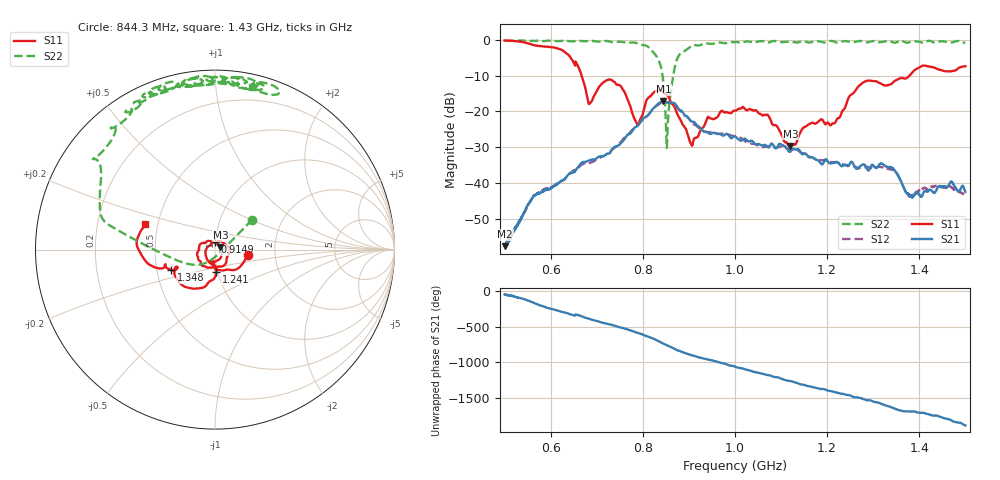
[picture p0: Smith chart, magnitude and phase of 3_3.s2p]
!Agilent Technologies,E8364B,US42250235,A.06.04.32
!Agilent E8364B: A.06.04.32
!Date: Thursday, October 01, 2020 11:07:33
!Correction: S11(Full 2 Port(1,2)) S21(Full 2 Port(1,2)) S12(Full 2 Port(1,2)) S22(Full 2 Port(1,2))
!S2P File: Measurements: S11, S21, S12, S22:
# Hz S  dB  R 50
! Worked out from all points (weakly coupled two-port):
!   2650 points, 500 MHz to 1.5 GHz, reference 50 ohm
!   highest |S21| = -17.13 dB at 844.7 MHz (marker M1); lowest = -57.7 dB at 501.1 MHz (marker M2)
!   lowest |S11| = -29.6 dB at 1.12 GHz (marker M3), VSWR 1.07, Z = 53.1 + j1.42 ohm
!   |S11| at or under -10 dB: 667.2 MHz to 1.379 GHz (711.6 MHz wide, 69.6 % of centre)
!   |S22| runs from -30.2 to -0.2 dB; largest |S21 - S12| = 0.015
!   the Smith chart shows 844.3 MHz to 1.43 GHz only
!   S11 on the Smith chart (normalised r, x): 844.3 MHz: 1.44, -0.09; 914.9 MHz: 0.99, +0.08; 1.241 GHz: 0.98, -0.24; 1.348 GHz: 0.59, -0.14; 1.43 GHz: 0.42, +0.15
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5e8  -0.16 -175.2  -57.60 -47.6  -57.25 -48.1  -0.24 136.1
5.011325e8  -0.17 -175.7  -57.70 -48.4  -57.14 -48.1  -0.23 135.9
6.124953e8  -2.29 111.5  -40.50 90.9  -40.20 92.1  -0.36 127.1
6.668554e8  -9.87 47.9  -34.42 6.6  -34.96 -11.0  -0.32 121.1
6.849755e8  -17.79 77.0  -33.71 -32.5  -34.38 -48.5  -0.26 116.0
7.506606e8  -12.79 46.2  -29.12 -149.9  -28.80 -158.2  -0.48 107.2
7.880332e8  -23.73 47.6  -24.09 134.5  -24.07 126.9  -1.01 96.7
8.337108e8  -14.19 17.5  -17.81 18.7  -18.13 12.6  -5.51 49.7
8.442809e8  -14.64 -9.3  -17.14 -16.7  -17.34 -21.0  -11.48 38.9
8.446584e8  -14.70 -10.1  -17.13 -18.0  -17.33 -22.3  -11.92 38.5
8.533409e8  -15.47 -35.2  -17.40 -44.5  -17.54 -48.3  -26.17 -100.4
8.744809e8  -20.64 -95.6  -18.78 -111.6  -18.63 -113.6  -5.31 169.0
9.148735e8  -27.41 90.9  -23.47 160.9  -23.95 161.9  -1.50 142.7
1.000189e9  -19.76 -104.6  -26.97 15.3  -27.00 14.4  -0.57 118.4
1.120234e9  -29.64 24.0  -31.27 174.3  -30.66 170.9  -0.49 102.6
1.166667e9  -23.18 -92.8  -32.75 92.1  -32.92 88.2  -0.61 94.7
1.241034e9  -18.22 -87.3  -35.00 -19.0  -35.04 -28.9  -0.35 91.8
1.333522e9  -12.57 -153.4  -35.57 179.0  -36.10 170.5  -0.30 82.8
1.347867e9  -11.37 -155.3  -36.77 142.6  -36.88 135.7  -0.78 79.3
1.378445e9  -10.04 -160.5  -43.17 105.3  -43.70 99.6  -0.64 73.8
1.429785e9  -7.62 159.9  -42.58 48.5  -41.15 39.2  -0.62 77.1
1.5e9  -7.34 144.0  -42.49 -91.1  -43.97 -97.1  -0.68 60.1
